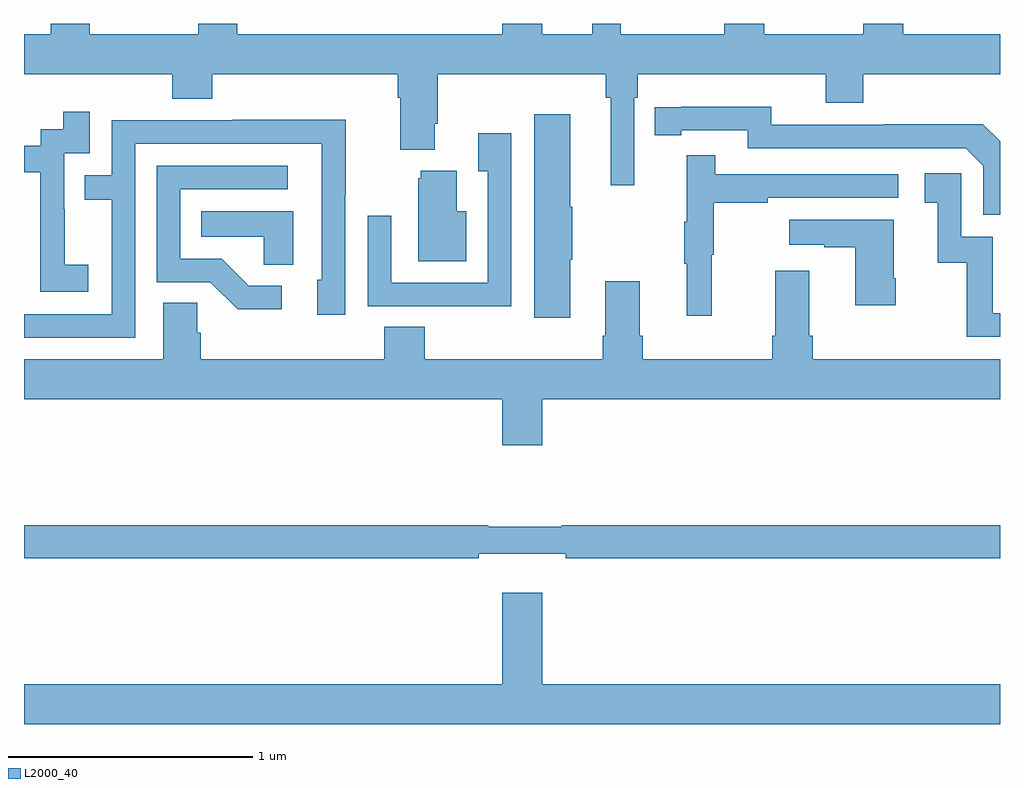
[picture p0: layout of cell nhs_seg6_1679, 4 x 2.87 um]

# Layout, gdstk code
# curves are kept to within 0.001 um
import gdstk
lib = gdstk.Library(unit=1e-6, precision=1e-09)
def P(c, l, *ps):  # polygons
    for p in ps: c.add(gdstk.Polygon(p, *l))
L2000_40 = (2000, 40)

nhs_seg6_1679 = lib.new_cell('nhs_seg6_1679')
P(nhs_seg6_1679, L2000_40, [(213.501,991.196),(213.515,991.196),(213.515,991.292),(214.286,991.292),(214.286,991.175),(214.439,991.175),(214.439,991.292),(215,991.292),(215,991.456),(214.603,991.456),(214.603,991.5),(214.439,991.5),(214.439,991.456),(214.033,991.456),(214.033,991.5),(213.869,991.5),(213.869,991.456),(213.445,991.456),(213.445,991.5),(213.329,991.5),(213.329,991.456),(213.124,991.456),(213.124,991.5),(212.96,991.5),(212.96,991.456),(211.874,991.456),(211.874,991.5),(211.714,991.5),(211.714,991.456),(211.269,991.456),(211.269,991.5),(211.109,991.5),(211.109,991.456),(211,991.456),(211,991.292),(211.607,991.292),(211.607,991.193),(211.772,991.193),(211.772,991.292),(212.531,991.292),(212.531,991.196),(212.543,991.196),(212.543,990.983),(212.683,990.983),(212.683,991.09),(212.696,991.09),(212.696,991.292),(213.385,991.292),(213.385,991.196),(213.404,991.196),(213.404,990.837),(213.501,990.837)],
  [(215,991.018),(214.93,991.088),(214.522,991.088),(214.522,991.086),(214.062,991.086),(214.062,991.159),(213.586,991.158),(213.586,991.042),(213.694,991.042),(213.694,991.062),(213.966,991.062),(213.966,990.99),(214.86,990.99),(214.932,990.918),(214.932,990.717),(215,990.717)],
  [(211.264,990.511),(211.166,990.511),(211.166,990.74),(211.164,990.74),(211.164,990.969),(211.269,990.969),(211.269,991.138),(211.161,991.138),(211.161,991.068),(211.068,991.068),(211.068,990.999),(211,990.999),(211,990.891),(211.067,990.891),(211.067,990.607),(211.066,990.607),(211.066,990.401),(211.264,990.401)],
  [(213.238,990.532),(213.246,990.532),(213.246,990.749),(213.238,990.749),(213.238,991.129),(213.092,991.129),(213.092,990.294),(213.238,990.294)],
  [(211.455,991.008),(212.22,991.008),(212.22,990.45),(212.201,990.45),(212.201,990.306),(212.316,990.306),(212.316,990.799),(212.319,990.799),(212.319,991.106),(211.855,991.106),(211.855,991.104),(211.359,991.104),(211.359,990.879),(211.249,990.879),(211.249,990.778),(211.359,990.778),(211.359,990.309),(211,990.309),(211,990.213),(211.455,990.213)],
  [(212.997,991.051),(212.861,991.051),(212.861,990.895),(212.901,990.895),(212.901,990.438),(212.505,990.438),(212.505,990.712),(212.409,990.712),(212.409,990.342),(212.725,990.342),(212.725,990.341),(212.997,990.341)],
  [(213.818,990.552),(213.826,990.552),(213.826,990.766),(214.049,990.766),(214.049,990.786),(214.582,990.786),(214.582,990.882),(213.833,990.882),(213.833,990.961),(213.716,990.961),(213.716,990.689),(213.705,990.689),(213.705,990.515),(213.716,990.515),(213.716,990.303),(213.818,990.303)],
  [(212.056,990.426),(211.921,990.426),(211.81,990.537),(211.641,990.537),(211.641,990.822),(212.08,990.822),(212.08,990.918),(211.545,990.918),(211.545,990.441),(211.764,990.441),(211.877,990.329),(212.056,990.329)],
  [(212.812,990.73),(212.773,990.73),(212.773,990.898),(212.627,990.898),(212.627,990.867),(212.615,990.867),(212.615,990.527),(212.812,990.527)],
  [(215,990.312),(214.971,990.312),(214.971,990.627),(214.842,990.627),(214.842,990.886),(214.692,990.886),(214.692,990.765),(214.745,990.765),(214.745,990.519),(214.863,990.519),(214.863,990.216),(215,990.216)],
  [(212.104,990.73),(211.726,990.73),(211.726,990.626),(211.983,990.626),(211.983,990.511),(212.104,990.511)],
  [(214.572,990.457),(214.564,990.457),(214.564,990.697),(214.137,990.697),(214.137,990.593),(214.28,990.593),(214.28,990.583),(214.406,990.583),(214.406,990.345),(214.572,990.345)],
  [(213.124,989.96),(215,989.96),(215,990.124),(214.232,990.124),(214.232,990.22),(214.219,990.22),(214.219,990.487),(214.079,990.487),(214.079,990.22),(214.067,990.22),(214.067,990.124),(213.536,990.124),(213.536,990.22),(213.523,990.22),(213.523,990.445),(213.383,990.445),(213.383,990.22),(213.371,990.22),(213.371,990.124),(212.642,990.124),(212.642,990.257),(212.477,990.257),(212.477,990.124),(211.724,990.124),(211.724,990.233),(211.71,990.233),(211.71,990.356),(211.571,990.356),(211.571,990.124),(211,990.124),(211,989.96),(212.96,989.96),(212.96,989.772),(213.124,989.772)],
  [(212.864,989.327),(213.22,989.327),(213.22,989.308),(215,989.308),(215,989.444),(213.203,989.444),(213.203,989.437),(212.903,989.437),(212.903,989.444),(211,989.444),(211,989.308),(212.864,989.308)],
  [(215,988.792),(213.124,988.792),(213.124,989.167),(212.96,989.167),(212.96,988.792),(211,988.792),(211,988.628),(215,988.628)])

lib.write_gds('nhs_seg6_1679.gds')
